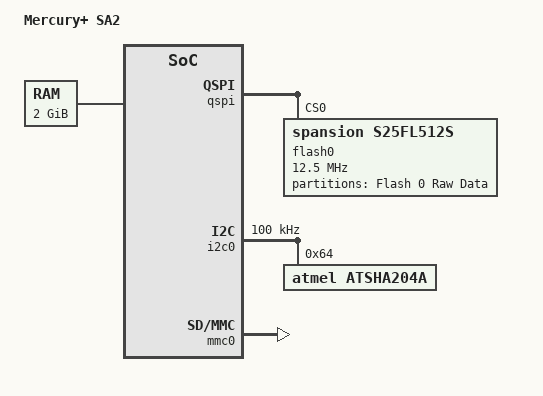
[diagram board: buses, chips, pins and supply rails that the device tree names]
#include "socfpga_cyclone5.dtsi"

/ {
	model = "Mercury+ SA2";
	compatible = "altr,socfpga-cyclone5", "altr,socfpga";

	chosen {
		bootargs = "earlyprintk";
		stdout-path = "serial0:115200n8";
	};

	memory@0 {
		name = "memory";
		device_type = "memory";
		reg = <0x0 0x80000000>; /* 2GB */
	};
};

&osc1 {
	clock-frequency = <50000000>;
};

&qspi {
	status = "okay";
	reset-names = "qspi";

	flash0: s25fl512s@0 {
		#address-cells = <1>;
		#size-cells = <1>;
		compatible = "spansion,s25fl512s", "jedec,spi-nor";
		reg = <0>;
		spi-max-frequency = <12500000>;
		m25p,fast-read;
		cdns,page-size = <256>;
		cdns,block-size = <16>;
		cdns,read-delay = <4>;
		cdns,tshsl-ns = <50>;
		cdns,tsd2d-ns = <50>;
		cdns,tchsh-ns = <4>;
		cdns,tslch-ns = <4>;

		partition@qspi-boot {
			label = "Flash 0 Raw Data";
			reg = <0x0 0x4000000>;
		};
	};
};

&i2c0 {
	status = "okay";
	clock-frequency = <100000>;

	atsha204a: atsha204a@64 {
		status = "okay";
		compatible = "atmel,atsha204a";
		reg = <0x64>;
	};
};

&mmc0 {
	status = "okay";
};

